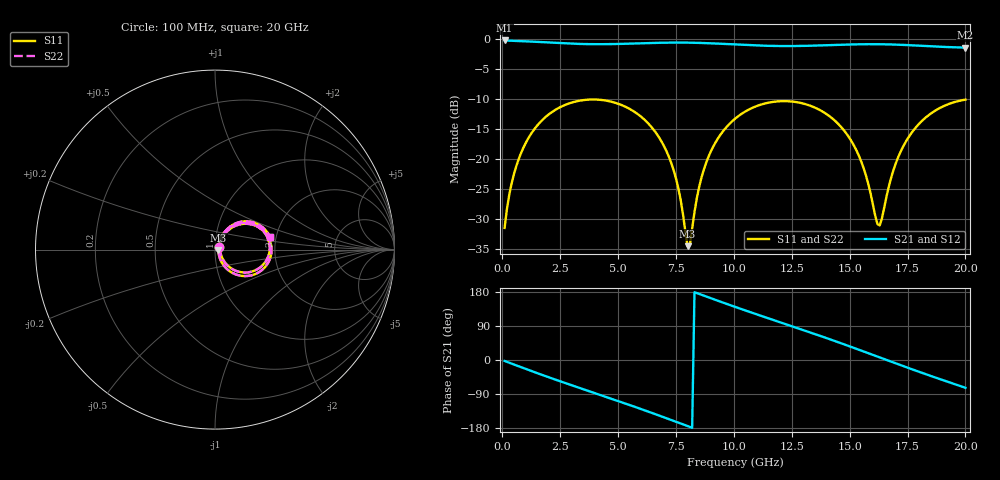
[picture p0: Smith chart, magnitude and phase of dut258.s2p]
! Touchstone file exported from HFSS 2026.1.0
!  File:  C:/ffzhzh/LocalFiles/Ansys_Project_Files/temp_train_TSV_RDL_258_1783068898_18316.aedt
!  Generated:  05:07:51 PM Jul  3, 2026
!  Design:  TSV_RDL
!  Project:  temp_train_TSV_RDL_258_1783068898_18316
! Variables:
!  h_bsmrdl = 4.62um
!  h_ox = 20um
!  h_rdl = 5um
!  h_sub = 77.7um
!  h_tmrdl = 5.67um
!  h_tsv = 77.7um
!  h_via = 3um
!  l_bsmrdl = 973.41um
!  l_sub = 7330.09um
!  l_tmrdl = 967.26um
!  m_sub = 200um
!  pitch = 39.88um
!  r_tsv = 14.72um
!  s_tmrdl = 10um
!  w_bsmrdl = 22.72um
!  w_sub = 500um
!  w_tmrdl = 24.22um
!  x_tsv_center1 = 979.37um
!  x_tsv_center2 = 1975.5um
!  x_tsv_center3 = 2966.98um
!  x_tsv_center4 = 3963.11um
!  x_tsv_center5 = 4954.59um
!  x_tsv_center6 = 5950.72um
# GHz S MA R 50.000000
! Terminal data exported
! Port[1] = TM_RDL1_1_T1
! Port[2] = TM_RDL5_1_T1
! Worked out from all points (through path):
!   200 points, 100 MHz to 20 GHz, reference 50 ohm
!   highest |S21| = -0.19 dB at 100 MHz (marker M1); lowest = -1.4 dB at 20 GHz (marker M2)
!   group delay of S21, straight-line fit = 60 ps
!   lowest |S11| = -34.5 dB at 8 GHz (marker M3), VSWR 1.04, Z = 51.8 - j0.519 ohm
!   |S11| at or under -10 dB: start of sweep to end of sweep
!   |S22| runs from -34.2 to -10.0 dB; largest |S21 - S12| = 1.6e-14
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0.1  0.02677 35.0  0.9786 -2.5  0.9786 -2.5  0.02677 35.0
! Gamma 0 0 0 0
! Port Impedance 50 0 50 0
0.5  0.0748 57.8  0.9712 -11.8  0.9712 -11.8  0.07479 57.8
1.2  0.1582 51.9  0.9587 -27.8  0.9587 -27.8  0.1582 51.9
3.5  0.3114 7.8  0.9138 -77.1  0.9138 -77.1  0.3114 7.9
5.2  0.2808 -25.3  0.9169 -112.4  0.9169 -112.4  0.2808 -25.2
6.8  0.1489 -55.4  0.936 -147.2  0.936 -147.2  0.1489 -55.2
7.5  0.06933 -62.4  0.9397 -162.9  0.9397 -162.9  0.06943 -61.9
8  0.01885 -15.4  0.9386 -174.3  0.9386 -174.3  0.01947 -14.6
8.1  0.01928 20.2  0.9379 -176.5  0.9379 -176.5  0.01994 19.8
8.4  0.04723 60.5  0.9352 176.7  0.9352 176.7  0.04758 59.7
8.8  0.09304 63.1  0.9298 167.7  0.9298 167.7  0.09328 62.7
10.1  0.2216 42.4  0.9047 139.2  0.9047 139.2  0.2218 42.2
11.8  0.3027 10.3  0.8802 103.7  0.8802 103.7  0.3029 10.1
13.4  0.2748 -19.8  0.8853 70.7  0.8853 70.7  0.2749 -20.0
15.2  0.1287 -50.1  0.9075 31.6  0.9075 31.6  0.1287 -50.5
15.7  0.07382 -51.2  0.9106 20.4  0.9106 20.4  0.07367 -51.8
16.2  0.02886 -9.8  0.9106 9.0  0.9106 9.0  0.02819 -10.5
16.4  0.03237 32.6  0.9096 4.5  0.9096 4.5  0.0317 33.1
16.7  0.06 57.6  0.9071 -2.3  0.9071 -2.3  0.05961 58.2
17.2  0.1154 60.6  0.9005 -13.5  0.9005 -13.5  0.1152 60.9
17.9  0.1882 51.3  0.8876 -29.0  0.8876 -29.0  0.1881 51.5
20  0.3141 13.4  0.8535 -73.3  0.8535 -73.3  0.3142 13.4
